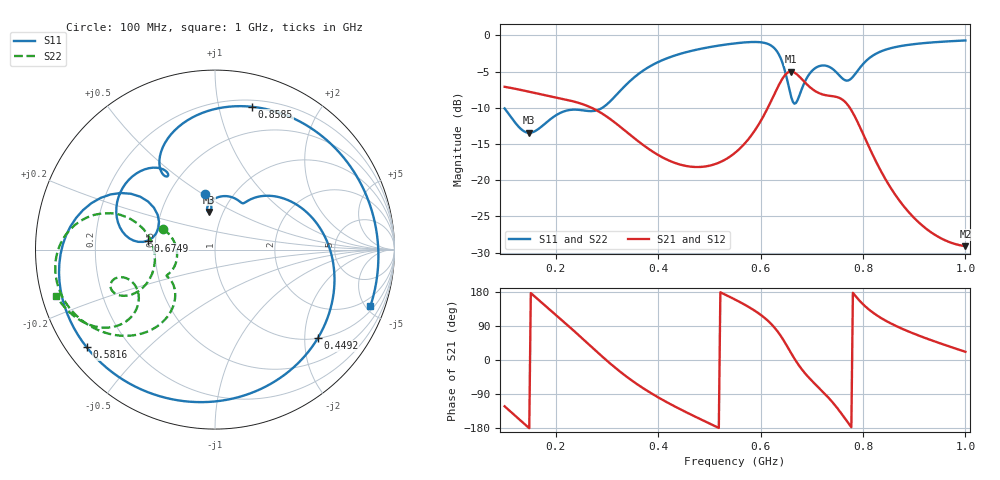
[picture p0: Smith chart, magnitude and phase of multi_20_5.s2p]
! Created with skrf (http://scikit-rf.org).
# MHz S RI R 376.73031366686166
!freq ReS11 ImS11 ReS21 ImS21 ReS12 ImS12 ReS22 ImS22
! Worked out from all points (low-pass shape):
!   300 points, 100 MHz to 1 GHz, reference 376.73 ohm
!   highest |S21| = -5.00 dB at 659.9 MHz (marker M1); lowest = -29.1 dB at 1 GHz (marker M2)
!   |S21| within 3 dB of the highest: start of sweep to 161.5 MHz; 627.8 MHz to 714.8 MHz (87.01 MHz wide, 13 % of centre)
!   lowest |S11| = -13.5 dB at 148.2 MHz (marker M3), VSWR 1.54, Z = 324 + j142 ohm
!   |S11| at or under -10 dB: start of sweep to 291.1 MHz
!   |S22| runs from -13.5 to -0.7 dB; largest |S21 - S12| = 2.8e-15
!   S11 on the Smith chart (normalised r, x): 100 MHz: 0.74, +0.51; 449.2 MHz: 1.01, -2.32; 581.6 MHz: 0.06, -0.34; 674.9 MHz: 0.45, +0.05; 858.5 MHz: 0.26, +1.26; 1 GHz: 1.28, -5.36
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100  -0.0579 0.3073  -0.2351 -0.3731  -0.2351 -0.3731  -0.2906 0.1156
148.1605  -0.0328 0.2097  -0.4076 -0.00078  -0.4076 -0.00078  -0.2116 -0.0159
202.3411  -0.00273 0.2833  -0.1655 0.3318  -0.1655 0.3318  -0.252 -0.1294
250.5017  0.1249 0.2772  0.1761 0.2866  0.1761 0.2866  -0.263 -0.1527
343.8127  0.3863 0.2835  0.1347 -0.1578  0.1347 -0.1578  -0.2786 -0.3898
401.0033  0.6542 -0.0518  -0.0243 -0.1464  -0.0243 -0.1464  -0.4508 -0.4769
449.1639  0.5739 -0.4916  -0.088 -0.0907  -0.088 -0.0907  -0.5929 -0.4684
503.3445  0.1304 -0.8221  -0.1246 -0.0229  -0.1246 -0.0229  -0.727 -0.4054
551.505  -0.411 -0.779  -0.1452 0.0569  -0.1452 0.0569  -0.8273 -0.3022
581.6054  -0.7146 -0.5447  -0.1461 0.141  -0.1461 0.141  -0.877 -0.1953
620.7358  -0.8482 0.027  -0.0312 0.3515  -0.0312 0.3515  -0.8465 0.0597
641.806  -0.5825 0.3072  0.2585 0.4239  0.2585 0.4239  -0.6268 0.2021
659.8662  -0.3197 0.1945  0.5358 0.1699  0.5358 0.1699  -0.3674 0.0712
674.9164  -0.3738 0.0501  0.5057 -0.13  0.5057 -0.13  -0.3512 -0.1376
702.0067  -0.5471 0.1786  0.2274 -0.3562  0.2274 -0.3562  -0.5148 -0.2573
735.1171  -0.4153 0.4372  -0.0871 -0.372  -0.0871 -0.372  -0.5759 -0.1788
765.2174  -0.2607 0.414  -0.3141 -0.1459  -0.3141 -0.1459  -0.4495 -0.1933
804.3478  -0.2783 0.595  -0.1517 0.1199  -0.1517 0.1199  -0.5127 -0.4106
852.5084  0.1434 0.7992  -0.0122 0.0895  -0.0122 0.0895  -0.6945 -0.4207
858.5284  0.2063 0.7958  -0.00537 0.0835  -0.00537 0.0835  -0.7096 -0.415
933.7793  0.818 0.3567  0.0267 0.0342  0.0267 0.0342  -0.8286 -0.3312
1000  0.8655 -0.3158  0.0325 0.0129  0.0325 0.0129  -0.884 -0.2594
